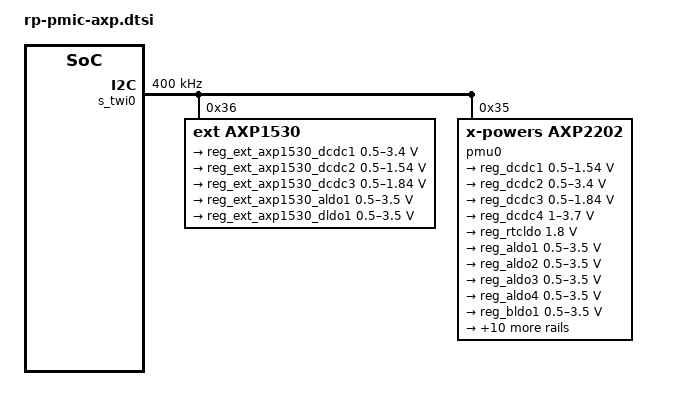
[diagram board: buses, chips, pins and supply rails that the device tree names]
&s_twi0 {
	clock-frequency = <400000>;
	pinctrl-0 = <&s_twi0_pins_default>;
	pinctrl-1 = <&s_twi0_pins_sleep>;
	pinctrl-names = "default", "sleep";
	device_type = "s_twi0";
	/* For stability and backwards compatibility, we recommend setting ‘twi_drv_used’ to 1 */
	twi_drv_used = <1>;
	no_suspend = <1>;
	status = "okay";

	axp1530: axp1530@36{
		compatible = "ext,axp1530";
		status = "okay";
		reg = <0x36>;

		regulators{
			reg_ext_axp1530_dcdc1: dcdc1 {
				regulator-name = "axp1530-dcdc1";
				regulator-min-microvolt = <500000>;
				regulator-max-microvolt = <3400000>;
				regulator-step-delay-us = <25>;
				regulator-final-delay-us = <50>;
				regulator-always-on;
			};

			reg_ext_axp1530_dcdc2: dcdc2 {
				regulator-name = "axp1530-dcdc2";
				regulator-min-microvolt = <500000>;
				regulator-max-microvolt = <1540000>;
				regulator-step-delay-us = <25>;
				regulator-final-delay-us = <50>;
				regulator-always-on;
			};

			reg_ext_axp1530_dcdc3: dcdc3 {
				regulator-name = "axp1530-dcdc3";
				regulator-min-microvolt = <500000>;
				regulator-max-microvolt = <1840000>;
				regulator-step-delay-us = <25>;
				regulator-final-delay-us = <50>;
				regulator-always-on;
			};

			reg_ext_axp1530_aldo1: ldo1 {
				regulator-name = "axp1530-aldo1";
				regulator-min-microvolt = <500000>;
				regulator-max-microvolt = <3500000>;
				regulator-step-delay-us = <25>;
				regulator-final-delay-us = <50>;
			};

			reg_ext_axp1530_dldo1: ldo2 {
				regulator-name = "axp1530-dldo1";
				regulator-min-microvolt = <500000>;
				regulator-max-microvolt = <3500000>;
				regulator-step-delay-us = <25>;
				regulator-final-delay-us = <50>;
			};
		};
		virtual-ext-dcdc1 {
			compatible = "xpower-vregulator,ext-dcdc1";
			dcdc1-supply = <&reg_ext_axp1530_dcdc1>;
		};
		virtual-ext-dcdc2 {
			compatible = "xpower-vregulator,ext-dcdc2";
			dcdc2-supply = <&reg_ext_axp1530_dcdc2>;
		};
		virtual-ext-dcdc3 {
			compatible = "xpower-vregulator,ext-dcdc3";
			dcdc3-supply = <&reg_ext_axp1530_dcdc3>;
		};
		virtual-ext-aldo1 {
			compatible = "xpower-vregulator,ext-aldo1";
			aldo1-supply = <&reg_ext_axp1530_aldo1>;
		};
		virtual-ext-dldo1 {
			compatible = "xpower-vregulator,ext-dldo1";
			dldo1-supply = <&reg_ext_axp1530_dldo1>;
		};
	};

	pmu0: pmu@34 {
		compatible = "x-powers,axp2202";
		reg = <0x35>;
		status = "okay";
		interrupts = <0 IRQ_TYPE_LEVEL_LOW>;
		interrupt-parent = <&nmi_intc>;
		x-powers,drive-vbus-en;
		pmu_reset = <1>;
		pmu_irq_wakeup = <1>;
		pmu_hot_shutdown = <1>;

		wakeup-source;

		powerkey0: powerkey@0 {
			status = "okay";
			compatible = "x-powers,axp2101-pek";
			pmu_powkey_off_time = <6000>;
			pmu_powkey_off_func = <0>;
			pmu_powkey_off_en = <1>;
			pmu_powkey_long_time = <1500>;
			pmu_powkey_on_time = <512>;
			wakeup_rising;
			wakeup_falling;
		};

		regulator0: regulators@0 {
			reg_dcdc1: dcdc1 {
				regulator-name = "axp2202-dcdc1";
				regulator-min-microvolt = <500000>;
				regulator-max-microvolt = <1540000>;
				regulator-ramp-delay = <250>;
				regulator-enable-ramp-delay = <1000>;
				regulator-boot-on;
				regulator-always-on;
			};
			reg_dcdc2: dcdc2 {
				regulator-name = "axp2202-dcdc2";
				regulator-min-microvolt = <500000>;
				regulator-max-microvolt = <3400000>;
				regulator-ramp-delay = <250>;
				regulator-enable-ramp-delay = <1000>;
				regulator-boot-on;
				regulator-always-on;
			};
			reg_dcdc3: dcdc3 {
				regulator-name = "axp2202-dcdc3";
				regulator-min-microvolt = <500000>;
				regulator-max-microvolt = <1840000>;
				regulator-ramp-delay = <250>;
				regulator-enable-ramp-delay = <1000>;
				regulator-always-on;
			};
			reg_dcdc4: dcdc4 {
				regulator-name = "axp2202-dcdc4";
				regulator-min-microvolt = <1000000>;
				regulator-max-microvolt = <3700000>;
				regulator-ramp-delay = <250>;
				regulator-enable-ramp-delay = <1000>;
			};
			reg_rtcldo: rtcldo {
				/* RTC_LDO is a fixed, always-on regulator */
				regulator-name = "axp2202-rtcldo";
				regulator-min-microvolt = <1800000>;
				regulator-max-microvolt = <1800000>;
				regulator-boot-on;
				regulator-always-on;
			};
			reg_aldo1: aldo1 {
				regulator-name = "axp2202-aldo1";
				regulator-min-microvolt = <500000>;
				regulator-max-microvolt = <3500000>;
				regulator-enable-ramp-delay = <1000>;
			};
			reg_aldo2: aldo2 {
				regulator-name = "axp2202-aldo2";
				regulator-min-microvolt = <500000>;
				regulator-max-microvolt = <3500000>;
				regulator-enable-ramp-delay = <1000>;
			};
			reg_aldo3: aldo3 {
				regulator-name = "axp2202-aldo3";
				regulator-min-microvolt = <500000>;
				regulator-max-microvolt = <3500000>;
				regulator-enable-ramp-delay = <1000>;
				regulator-always-on;
				regulator-boot-on;
			};
			reg_aldo4: aldo4 {
				regulator-name = "axp2202-aldo4";
				regulator-min-microvolt = <500000>;
				regulator-max-microvolt = <3500000>;
				regulator-enable-ramp-delay = <1000>;
				regulator-always-on;
				regulator-boot-on;
			};
			reg_bldo1: bldo1 {
				regulator-name = "axp2202-bldo1";
				regulator-min-microvolt = <500000>;
				regulator-max-microvolt = <3500000>;
				regulator-enable-ramp-delay = <1000>;
			};
			reg_bldo2: bldo2 {
				regulator-name = "axp2202-bldo2";
				regulator-min-microvolt = <500000>;
				regulator-max-microvolt = <3500000>;
				regulator-enable-ramp-delay = <1000>;
				regulator-boot-on;
				regulator-always-on;
			};
			reg_bldo3: bldo3 {
				regulator-name = "axp2202-bldo3";
				regulator-min-microvolt = <500000>;
				regulator-max-microvolt = <3500000>;
				regulator-enable-ramp-delay = <1000>;
			};
			reg_bldo4: bldo4 {
				regulator-name = "axp2202-bldo4";
				regulator-min-microvolt = <500000>;
				regulator-max-microvolt = <3500000>;
				regulator-enable-ramp-delay = <1000>;
			};
			reg_cldo1: cldo1 {
				regulator-name = "axp2202-cldo1";
				regulator-min-microvolt = <500000>;
				regulator-max-microvolt = <3500000>;
				regulator-enable-ramp-delay = <1000>;
			};
			reg_cldo2: cldo2 {
				regulator-name = "axp2202-cldo2";
				regulator-min-microvolt = <500000>;
				regulator-max-microvolt = <3500000>;
				regulator-enable-ramp-delay = <1000>;
				regulator-boot-on;
				regulator-always-on;
			};
			reg_cldo3: cldo3 {
				regulator-name = "axp2202-cldo3";
				regulator-min-microvolt = <500000>;
				regulator-max-microvolt = <3500000>;
				regulator-ramp-delay = <2500>;
				regulator-enable-ramp-delay = <1000>;
				regulator-boot-on;
				regulator-always-on;
			};
			reg_cldo4: cldo4 {
				regulator-name = "axp2202-cldo4";
				regulator-min-microvolt = <500000>;
				regulator-max-microvolt = <3500000>;
				regulator-enable-ramp-delay = <1000>;
			};
			reg_cpusldo: cpusldo {
				/* cpus */
				regulator-name = "axp2202-cpusldo";
				regulator-min-microvolt = <500000>;
				regulator-max-microvolt = <1400000>;
				regulator-boot-on;
				regulator-always-on;
			};
			reg_vmid: vmid {
				regulator-name = "axp2202-vmid";
				regulator-enable-ramp-delay = <1000>;
			};
			reg_drivevbus: drivevbus {
				regulator-name = "axp2202-drivevbus";
				regulator-enable-ramp-delay = <1000>;
				drivevbusin-supply = <&reg_vmid>;
			};
		};

		virtual-dcdc1 {
			compatible = "xpower-vregulator,dcdc1";
			dcdc1-supply = <&reg_dcdc1>;
		};
		virtual-dcdc2 {
			compatible = "xpower-vregulator,dcdc2";
			dcdc2-supply = <&reg_dcdc2>;
		};
		virtual-dcdc3 {
			compatible = "xpower-vregulator,dcdc3";
			dcdc3-supply = <&reg_dcdc3>;
		};
		virtual-dcdc4 {
			compatible = "xpower-vregulator,dcdc4";
			dcdc4-supply = <&reg_dcdc4>;
		};
		virtual-rtcldo {
			compatible = "xpower-vregulator,rtcldo";
			rtcldo-supply = <&reg_rtcldo>;
		};
		virtual-aldo1 {
			compatible = "xpower-vregulator,aldo1";
			aldo1-supply = <&reg_aldo1>;
		};
		virtual-aldo2 {
			compatible = "xpower-vregulator,aldo2";
			aldo2-supply = <&reg_aldo2>;
		};
		virtual-aldo3 {
			compatible = "xpower-vregulator,aldo3";
			aldo3-supply = <&reg_aldo3>;
		};
		virtual-aldo4 {
			compatible = "xpower-vregulator,aldo4";
			aldo4-supply = <&reg_aldo4>;
		};
		virtual-bldo1 {
			compatible = "xpower-vregulator,bldo1";
			bldo1-supply = <&reg_bldo1>;
		};
		virtual-bldo2 {
			compatible = "xpower-vregulator,bldo2";
			bldo2-supply = <&reg_bldo2>;
		};
		virtual-bldo3 {
			compatible = "xpower-vregulator,bldo3";
			bldo3-supply = <&reg_bldo3>;
		};
		virtual-bldo4 {
			compatible = "xpower-vregulator,bldo4";
			bldo4-supply = <&reg_bldo4>;
		};
		virtual-cldo1 {
			compatible = "xpower-vregulator,cldo1";
			cldo1-supply = <&reg_cldo1>;
		};
		virtual-cldo2 {
			compatible = "xpower-vregulator,cldo2";
			cldo2-supply = <&reg_cldo2>;
		};
		virtual-cldo3 {
			compatible = "xpower-vregulator,cldo3";
			cldo3-supply = <&reg_cldo3>;
		};
		virtual-cldo4 {
			compatible = "xpower-vregulator,cldo4";
			cldo4-supply = <&reg_cldo4>;
		};
		virtual-cpusldo {
			compatible = "xpower-vregulator,cpusldo";
			cpusldo-supply = <&reg_cpusldo>;
		};
		virtual-drivevbus {
			compatible = "xpower-vregulator,drivevbus";
			drivevbus-supply = <&reg_drivevbus>;
		};
		axp_gpio0: axp_gpio@0 {
			gpio-controller;
			#size-cells = <0>;
			#gpio-cells = <6>;
			status = "okay";
		};
	};
};
